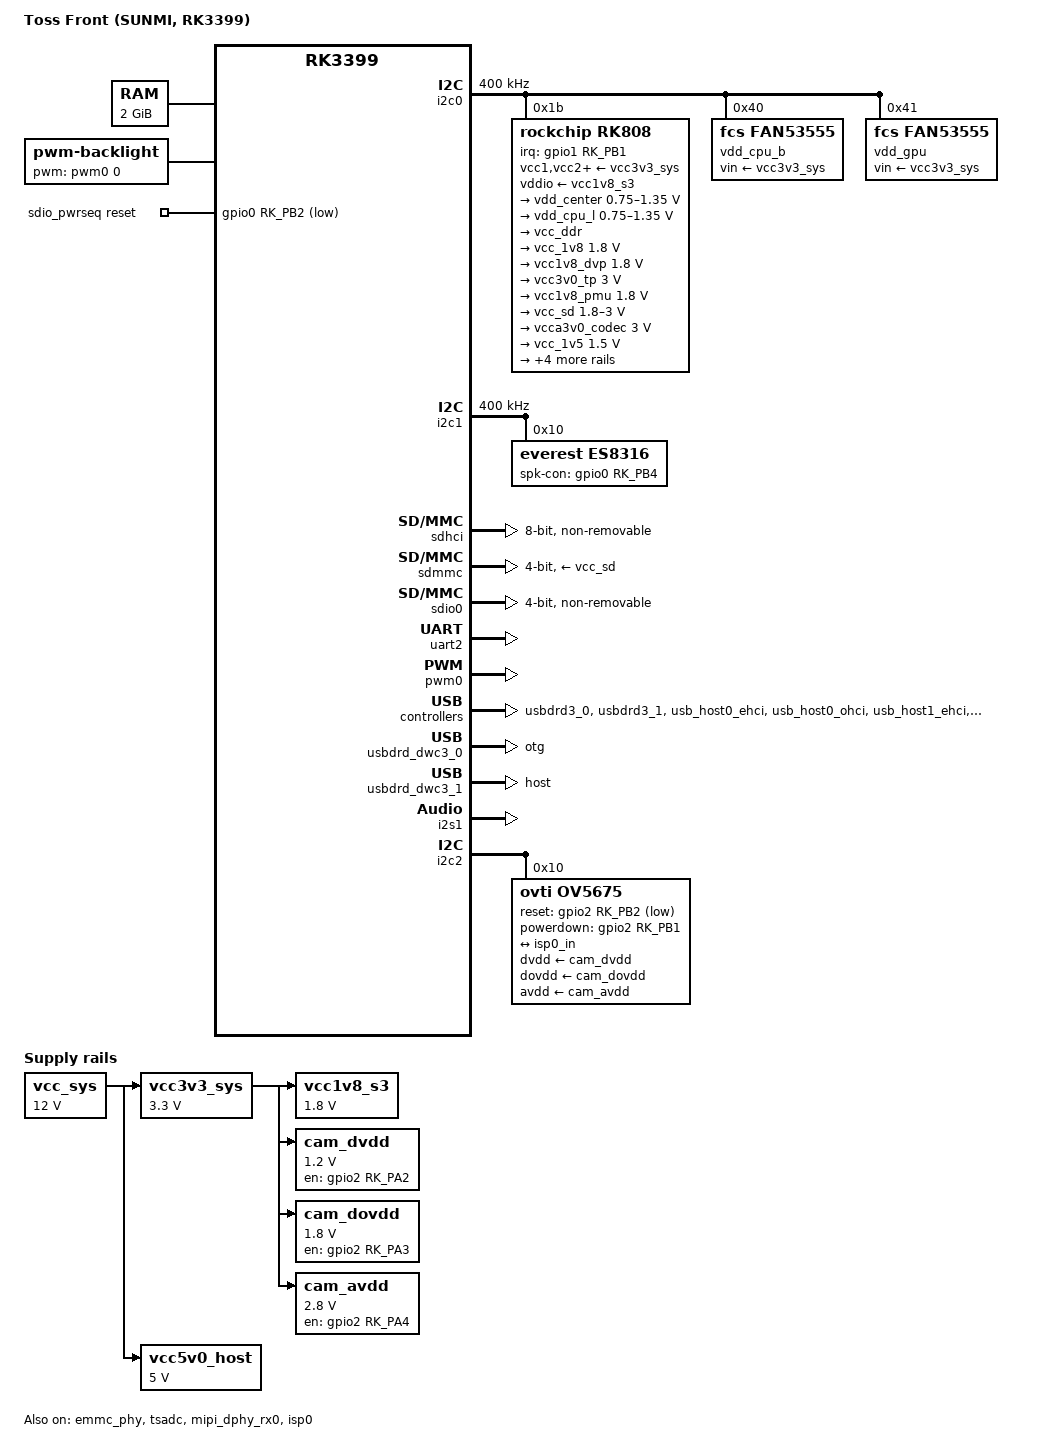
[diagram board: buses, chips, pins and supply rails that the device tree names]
// SPDX-License-Identifier: (GPL-2.0+ OR MIT)
/*
 * Toss Front 1/1.5세대 (SUNMI, Rockchip RK3399)
 *
 * 벤더 DTB(TF-Flasher 백업 boot.img)를 디컴파일해 확인한 하드웨어:
 *   - PMIC: RK808 (i2c0 0x1b) + FAN53555 x2 (i2c0 0x40 vdd_cpu_b, 0x41 vdd_gpu)
 *   - eMMC: sdhci 8bit HS400 (벤더는 hs400-1_8v + enhanced-strobe)
 *   - SD:   dwmmc fe320000 4bit, vmmc/vqmmc = vcc_sd (RK808 LDO4)
 *   - WiFi: dwmmc fe310000 SDIO 4bit, AP6354(BCM4354), pwrseq reset = gpio0 PB2
 *   - 터치: GSL3673 (i2c1 0x40, IRQ gpio1 PC4, RST gpio1 PA1)
 *   - 백라이트: pwm0 (40us 주기, 0..255 레벨, 기본 200)
 *   - 패널: MIPI-DSI0, 벤더 DTB에 8종 변형. 이 파일은 800x1280/3lane(M13) 기본
 *   - 오디오: es8316 / 게이지: cw201x / 카메라: ov5675 / 4G: 별도 플랫폼
 *
 * 설계 원칙:
 *   - OPP(cpu/gpu dvfs) 테이블은 넣지 않는다. 벤더 DTB의 OPP는 검증되지 않았고,
 *     전압이 틀리면 부팅 중 죽는다. U-Boot가 잡은 클럭/전압으로 동작시킨다.
 *   - 디스플레이는 status="disabled". 메인라인 커널에 이 패널(벤더 init-sequence
 *     방식)을 구동하는 드라이버가 없어서, 켜두면 DSI만 초기화하고 화면은 안 나온다.
 *     타이밍/시퀀스는 아래에 그대로 옮겨놨으니 드라이버를 붙이면 바로 쓸 수 있다.
 */

/dts-v1/;

#include <dt-bindings/gpio/gpio.h>
#include <dt-bindings/interrupt-controller/irq.h>
#include <dt-bindings/pinctrl/rockchip.h>
#include "rk3399-base.dtsi"

/ {
	model = "Toss Front (SUNMI, RK3399)";
	compatible = "sunmi,tossfront", "rockchip,rk3399";

	aliases {
		mmc0 = &sdhci;
		mmc1 = &sdio0;
		mmc2 = &sdmmc;
		serial2 = &uart2;
	};

	chosen {
		stdout-path = "serial2:1500000n8";
	};

	memory@0 {
		device_type = "memory";
		reg = <0x0 0x00000000 0x0 0x80000000>; /* 2 GiB */
	};

	vcc_sys: vcc-sys {
		compatible = "regulator-fixed";
		regulator-name = "vcc_sys";
		regulator-min-microvolt = <12000000>;
		regulator-max-microvolt = <12000000>;
	};

	vcc3v3_sys: vcc3v3-sys {
		compatible = "regulator-fixed";
		regulator-name = "vcc3v3_sys";
		regulator-always-on;
		regulator-boot-on;
		regulator-min-microvolt = <3300000>;
		regulator-max-microvolt = <3300000>;
		vin-supply = <&vcc_sys>;
	};

	vcc1v8_s3: vcc1v8-s3 {
		compatible = "regulator-fixed";
		regulator-name = "vcc1v8_s3";
		regulator-always-on;
		regulator-boot-on;
		regulator-min-microvolt = <1800000>;
		regulator-max-microvolt = <1800000>;
		vin-supply = <&vcc3v3_sys>;
	};

	vcc5v0_host: vcc5v0-host {
		compatible = "regulator-fixed";
		regulator-name = "vcc5v0_host";
		regulator-always-on;
		regulator-boot-on;
		regulator-min-microvolt = <5000000>;
		regulator-max-microvolt = <5000000>;
		vin-supply = <&vcc_sys>;
	};

	backlight: backlight {
		compatible = "pwm-backlight";
		/* 벤더: pwms = <&pwm0 0 0x9c40 0> — 40000ns(~25kHz) */
		pwms = <&pwm0 0 40000 0>;
		brightness-levels = <0 4 8 12 16 20 24 28 32 36 40 44 48 52 56 60
				     64 68 72 76 80 84 88 92 96 100 104 108 112 116 120 124
				     128 132 136 140 144 148 152 156 160 164 168 172 176 180 184 188
				     192 196 200 204 208 212 216 220 224 228 232 236 240 244 248 255>;
		default-brightness-level = <48>;
		status = "okay";
	};
};

&i2c0 {
	status = "okay";
	clock-frequency = <400000>;

	rk808: pmic@1b {
		compatible = "rockchip,rk808";
		reg = <0x1b>;
		interrupt-parent = <&gpio1>;
		interrupts = <RK_PB1 IRQ_TYPE_LEVEL_LOW>;
		pinctrl-names = "default";
		pinctrl-0 = <&pmic_int_l>;
		rockchip,system-power-controller;
		wakeup-source;
		#clock-cells = <1>;
		clock-output-names = "rk808-clkout1", "rk808-clkout2";

		vcc1-supply = <&vcc3v3_sys>;
		vcc2-supply = <&vcc3v3_sys>;
		vcc3-supply = <&vcc3v3_sys>;
		vcc4-supply = <&vcc3v3_sys>;
		vcc6-supply = <&vcc3v3_sys>;
		vcc7-supply = <&vcc3v3_sys>;
		vcc8-supply = <&vcc3v3_sys>;
		vcc9-supply = <&vcc3v3_sys>;
		vcc10-supply = <&vcc3v3_sys>;
		vcc11-supply = <&vcc3v3_sys>;
		vcc12-supply = <&vcc3v3_sys>;
		vddio-supply = <&vcc1v8_s3>;

		regulators {
			vdd_center: DCDC_REG1 {
				regulator-name = "vdd_center";
				regulator-always-on;
				regulator-boot-on;
				regulator-min-microvolt = <750000>;
				regulator-max-microvolt = <1350000>;
				regulator-ramp-delay = <6001>;
				regulator-state-mem {
					regulator-off-in-suspend;
				};
			};

			vdd_cpu_l: DCDC_REG2 {
				regulator-name = "vdd_cpu_l";
				regulator-always-on;
				regulator-boot-on;
				regulator-min-microvolt = <750000>;
				regulator-max-microvolt = <1350000>;
				regulator-ramp-delay = <6001>;
				regulator-state-mem {
					regulator-off-in-suspend;
				};
			};

			vcc_ddr: DCDC_REG3 {
				regulator-name = "vcc_ddr";
				regulator-always-on;
				regulator-boot-on;
				regulator-state-mem {
					regulator-on-in-suspend;
				};
			};

			vcc_1v8: DCDC_REG4 {
				regulator-name = "vcc_1v8";
				regulator-always-on;
				regulator-boot-on;
				regulator-min-microvolt = <1800000>;
				regulator-max-microvolt = <1800000>;
				regulator-state-mem {
					regulator-on-in-suspend;
					regulator-suspend-microvolt = <1800000>;
				};
			};

			vcc1v8_dvp: LDO_REG1 {
				regulator-name = "vcc1v8_dvp";
				regulator-always-on;
				regulator-boot-on;
				regulator-min-microvolt = <1800000>;
				regulator-max-microvolt = <1800000>;
				regulator-state-mem {
					regulator-off-in-suspend;
				};
			};

			vcc3v0_tp: LDO_REG2 {
				regulator-name = "vcc3v0_tp";
				regulator-always-on;
				regulator-boot-on;
				regulator-min-microvolt = <3000000>;
				regulator-max-microvolt = <3000000>;
				regulator-state-mem {
					regulator-off-in-suspend;
				};
			};

			vcc1v8_pmu: LDO_REG3 {
				regulator-name = "vcc1v8_pmu";
				regulator-always-on;
				regulator-boot-on;
				regulator-min-microvolt = <1800000>;
				regulator-max-microvolt = <1800000>;
				regulator-state-mem {
					regulator-on-in-suspend;
					regulator-suspend-microvolt = <1800000>;
				};
			};

			vcc_sd: LDO_REG4 {
				regulator-name = "vcc_sd";
				regulator-always-on;
				regulator-boot-on;
				regulator-min-microvolt = <1800000>;
				regulator-max-microvolt = <3000000>;
				regulator-state-mem {
					regulator-on-in-suspend;
					regulator-suspend-microvolt = <3000000>;
				};
			};

			vcca3v0_codec: LDO_REG5 {
				regulator-name = "vcca3v0_codec";
				regulator-always-on;
				regulator-boot-on;
				regulator-min-microvolt = <3000000>;
				regulator-max-microvolt = <3000000>;
				regulator-state-mem {
					regulator-off-in-suspend;
				};
			};

			vcc_1v5: LDO_REG6 {
				regulator-name = "vcc_1v5";
				regulator-always-on;
				regulator-boot-on;
				regulator-min-microvolt = <1500000>;
				regulator-max-microvolt = <1500000>;
				regulator-state-mem {
					regulator-off-in-suspend;
				};
			};

			vcca1v8_codec: LDO_REG7 {
				regulator-name = "vcca1v8_codec";
				regulator-always-on;
				regulator-boot-on;
				regulator-min-microvolt = <900000>;
				regulator-max-microvolt = <900000>;
				regulator-state-mem {
					regulator-off-in-suspend;
				};
			};

			vcc_3v0: LDO_REG8 {
				regulator-name = "vcc_3v0";
				regulator-always-on;
				regulator-boot-on;
				regulator-min-microvolt = <3000000>;
				regulator-max-microvolt = <3000000>;
				regulator-state-mem {
					regulator-off-in-suspend;
				};
			};

			vcc3v3_s3: SWITCH_REG1 {
				regulator-name = "vcc3v3_s3";
				regulator-always-on;
				regulator-boot-on;
				regulator-state-mem {
					regulator-on-in-suspend;
				};
			};

			vcc3v3_s0: SWITCH_REG2 {
				regulator-name = "vcc3v3_s0";
				regulator-always-on;
				regulator-boot-on;
				regulator-state-mem {
					regulator-off-in-suspend;
				};
			};
		};
	};

	/* 벤더 DTB: fan53555 @0x40 = vdd_cpu_b, @0x41 = vdd_gpu (712500..1500000) */
	vdd_cpu_b: regulator@40 {
		compatible = "fcs,fan53555";
		reg = <0x40>;
		regulator-name = "vdd_cpu_b";
		regulator-always-on;
		regulator-boot-on;
		regulator-min-microvolt = <712500>;
		regulator-max-microvolt = <1500000>;
		regulator-ramp-delay = <1000>;
		vin-supply = <&vcc3v3_sys>;
	};

	vdd_gpu: regulator@41 {
		compatible = "fcs,fan53555";
		reg = <0x41>;
		regulator-name = "vdd_gpu";
		regulator-always-on;
		regulator-boot-on;
		regulator-min-microvolt = <712500>;
		regulator-max-microvolt = <1500000>;
		regulator-ramp-delay = <1000>;
		vin-supply = <&vcc3v3_sys>;
	};
};

/* 터치: GSL3673 — 벤더 i2c1 0x40, IRQ gpio1 PC4, RST gpio1 PA1, 1536x2048 좌표계 */
&i2c1 {
	status = "okay";
	clock-frequency = <400000>;

	touchscreen@40 {
		compatible = "silead,gsl3673";
		reg = <0x40>;
		interrupt-parent = <&gpio1>;
		interrupts = <RK_PC4 IRQ_TYPE_EDGE_FALLING>;
		reset-gpios = <&gpio1 RK_PA1 GPIO_ACTIVE_HIGH>;
		/* 벤더: vcc3v0_tp (RK808 LDO2) */
		power-supply = <&vcc3v0_tp>;
		silead,max-fingers = <5>;
		status = "disabled"; /* 메인라인 silead 드라이버에 GSL3673 항목 없음 */
	};
};

&emmc_phy {
	status = "okay";
};

/*
 * eMMC: 벤더는 HS400(1.8V, enhanced-strobe). 검증 전에는 HS200으로 시작한다.
 * HS400으로 올릴 때는 아래 두 줄의 주석을 바꾸고 vqmmc-phy-supply(vcc_1v8)를 확인할 것.
 */
&sdhci {
	bus-width = <8>;
	mmc-hs200-1_8v;
	/* mmc-hs400-1_8v; */
	/* mmc-hs400-enhanced-strobe; */
	non-removable;
	status = "okay";
};

/* SD Card (dwmmc fe320000). 벤더: vmmc/vqmmc = vcc_sd */
&sdmmc {
	bus-width = <4>;
	cap-sd-highspeed;
	cap-mmc-highspeed;
	disable-wp;
	vmmc-supply = <&vcc_sd>;
	vqmmc-supply = <&vcc_sd>;
	status = "okay";
};

/* WiFi AP6354 (BCM4354) — SDIO. 벤더 pwrseq reset = gpio0 PB2 (active low) */
&sdio0 {
	bus-width = <4>;
	cap-sdio-irq;
	disable-wp;
	keep-power-in-suspend;
	mmc-pwrseq = <&sdio_pwrseq>;
	non-removable;
	sd-uhs-sdr104;
	status = "okay";
};

/ {
	sdio_pwrseq: sdio-pwrseq {
		compatible = "mmc-pwrseq-simple";
		clock-names = "ext_clock";
		pinctrl-names = "default";
		pinctrl-0 = <&wifi_enable_h>;
		reset-gpios = <&gpio0 RK_PB2 GPIO_ACTIVE_LOW>;
	};
};

&pinctrl {
	pmic {
		pmic_int_l: pmic-int-l {
			rockchip,pins = <1 RK_PB1 RK_FUNC_GPIO &pcfg_pull_up>;
		};
	};

	sdio-pwrseq {
		wifi_enable_h: wifi-enable-h {
			rockchip,pins = <0 RK_PB2 RK_FUNC_GPIO &pcfg_pull_none>;
		};
	};
};

&uart2 {
	status = "okay";
};

&pwm0 {
	status = "okay";
};

/* USB: 벤더는 dwc3 2개(OTG/host) + ehci/ohci 2쌍 */
&usbdrd3_0 {
	status = "okay";
};

&usbdrd_dwc3_0 {
	status = "okay";
	dr_mode = "otg";
};

&usbdrd3_1 {
	status = "okay";
};

&usbdrd_dwc3_1 {
	status = "okay";
	dr_mode = "host";
};

&usb_host0_ehci {
	status = "okay";
};

&usb_host0_ohci {
	status = "okay";
};

&usb_host1_ehci {
	status = "okay";
};

&usb_host1_ohci {
	status = "okay";
};

&tsadc {
	status = "okay";
	rockchip,hw-tshut-mode = <1>;
	rockchip,hw-tshut-polarity = <1>;
};

/*
 * 오디오: ES8316 (i2c1 0x10) ← I2S1, mclk = SCLK_I2S_8CH_OUT, 11.2896 MHz
 * 벤더 DTB: spk-con-gpios = <gpio0 PB4>, es8316_reg33_34_spk/hp = 0xc0
 * TF-OS 터치 UI의 "스피커" 페이지가 이 사운드 카드를 사용한다.
 */
&i2c1 {
	es8316: codec@10 {
		compatible = "everest,es8316";
		reg = <0x10>;
		clocks = <&cru SCLK_I2S_8CH_OUT>;
		clock-names = "mclk";
		#sound-dai-cells = <0>;
		/* 벤더 전용: 내장 스피커 드라이버 제어 (메인라인 드라이버는 무시) */
		spk-con-gpios = <&gpio0 RK_PB4 GPIO_ACTIVE_HIGH>;
		status = "okay";
	};
};

&i2s1 {
	status = "okay";
};

/ {
	es8316_sound: sound {
		compatible = "simple-audio-card";
		simple-audio-card,name = "Toss Front";
		simple-audio-card,format = "i2s";
		simple-audio-card,mclk-fs = <256>;
		simple-audio-card,widgets =
			"Microphone", "Mic Jack",
			"Headphone", "Headphone Jack",
			"Speaker", "Speaker";
		simple-audio-card,routing =
			"Mic Jack", "MICBIAS1",
			"IN1P", "Mic Jack",
			"Headphone Jack", "HPOL",
			"Headphone Jack", "HPOR";

		simple-audio-card,cpu {
			sound-dai = <&i2s1>;
		};

		simple-audio-card,codec {
			sound-dai = <&es8316>;
		};
	};
};

/*
 * 카메라: OV5675 (i2c2 0x10) → MIPI DPHY RX0 → ISP0
 * 벤더 DTB: dvdd/dovdd/avdd = gpio2 PA2/PA3/PA4, pwdn = gpio2 PB1,
 *            reset = gpio2 PB2, xvclk = SCLK_CIF_OUT, 2 lane
 * TF-OS "하드웨어" 페이지의 카메라 미리보기(V4L2)가 이 노드를 쓴다.
 */
/ {
	cam_dvdd: regulator-cam-dvdd {
		compatible = "regulator-fixed";
		regulator-name = "cam_dvdd";
		regulator-min-microvolt = <1200000>;
		regulator-max-microvolt = <1200000>;
		gpio = <&gpio2 RK_PA2 GPIO_ACTIVE_HIGH>;
		enable-active-high;
		vin-supply = <&vcc3v3_sys>;
	};

	cam_dovdd: regulator-cam-dovdd {
		compatible = "regulator-fixed";
		regulator-name = "cam_dovdd";
		regulator-min-microvolt = <1800000>;
		regulator-max-microvolt = <1800000>;
		gpio = <&gpio2 RK_PA3 GPIO_ACTIVE_HIGH>;
		enable-active-high;
		vin-supply = <&vcc3v3_sys>;
	};

	cam_avdd: regulator-cam-avdd {
		compatible = "regulator-fixed";
		regulator-name = "cam_avdd";
		regulator-min-microvolt = <2800000>;
		regulator-max-microvolt = <2800000>;
		gpio = <&gpio2 RK_PA4 GPIO_ACTIVE_HIGH>;
		enable-active-high;
		vin-supply = <&vcc3v3_sys>;
	};
};

&i2c2 {
	status = "okay";

	ov5675: camera@10 {
		compatible = "ovti,ov5675";
		reg = <0x10>;
		clocks = <&cru SCLK_CIF_OUT>;
		clock-names = "xvclk";
		dvdd-supply = <&cam_dvdd>;
		dovdd-supply = <&cam_dovdd>;
		avdd-supply = <&cam_avdd>;
		reset-gpios = <&gpio2 RK_PB2 GPIO_ACTIVE_LOW>;
		powerdown-gpios = <&gpio2 RK_PB1 GPIO_ACTIVE_HIGH>;
		pinctrl-names = "default";
		pinctrl-0 = <&cif_clkouta>;
		status = "okay";

		port {
			ov5675_out: endpoint {
				remote-endpoint = <&isp0_in>;
				data-lanes = <1 2>;
				link-frequencies = /bits/ 64 <450000000>;
			};
		};
	};
};

&mipi_dphy_rx0 {
	status = "okay";
};

&isp0 {
	status = "okay";

	ports {
		port@0 {
			isp0_in: endpoint {
				remote-endpoint = <&ov5675_out>;
				data-lanes = <1 2>;
			};
		};
	};
};

/*
 * 디스플레이 (MIPI-DSI0)
 *
 * 벤더 DTB에는 lcd-compatible 노드가 "M13"→mipi_lcd_23, "M14"→mipi_lcd_24,
 * "M15"→mipi_lcd_25 로 매핑하고, 부트로더가 보드 ID를 읽어 패널을 고른다.
 * 즉 같은 이름의 기기에도 패널이 여러 가지다. 실기기에서 화면이 안 뜨면
 * 아래 timing0 / dsi,lanes 를 다른 변형으로 바꿔야 한다(README 표 참고).
 *
 * 메인라인 커널에는 이 패널(벤더 init-sequence 방식) 드라이버가 없어서
 * 기본은 disabled. 드라이버를 붙일 때 필요한 값은 전부 여기에 있다.
 */
&mipi_dsi {
	status = "disabled";
	clock-master;
	#address-cells = <1>;
	#size-cells = <0>;

	panel: panel@0 {
		compatible = "simple-panel-dsi";
		reg = <0>;
		backlight = <&backlight>;
		reset-gpios = <&gpio3 RK_PD1 GPIO_ACTIVE_LOW>;
		enable-gpios = <&gpio4 RK_PA1 GPIO_ACTIVE_HIGH>;
		prepare-delay-ms = <20>;
		reset-delay-ms = <20>;
		init-delay-ms = <150>;
		enable-delay-ms = <30>;
		disable-delay-ms = <10>;
		unprepare-delay-ms = <10>;
		width-mm = <68>;
		height-mm = <121>;
		dsi,flags = <0xa03>;
		dsi,format = <0>;
		dsi,lanes = <3>; /* mipi_lcd_23 (M13). 1024x600 변형은 4 */
		panel-init-sequence = [
			05 78 01 11
			05 14 01 29
		];
		/* 벤더 mipi_lcd_23 초기화 시퀀스 (참고용 원본):
		 * 15 00 02 80 bb  15 00 02 81 bb ... 필요 시 드라이버에 맞춰 복원
		 */

		display-timings {
			native-mode = <&timing0>;

			timing0: timing0 {
				clock-frequency = <60000000>;
				hactive = <800>;
				vactive = <1280>;
				hback-porch = <20>;
				hfront-porch = <40>;
				hsync-len = <20>;
				vback-porch = <16>;
				vfront-porch = <30>;
				vsync-len = <4>;
				hsync-active = <0>;
				vsync-active = <0>;
				de-active = <0>;
				pixelclk-active = <0>;
			};
		};

		port {
			panel_in_dsi: endpoint {
				remote-endpoint = <&dsi_out_panel>;
			};
		};
	};
};

&mipi_out {
	dsi_out_panel: endpoint {
		remote-endpoint = <&panel_in_dsi>;
	};
};
